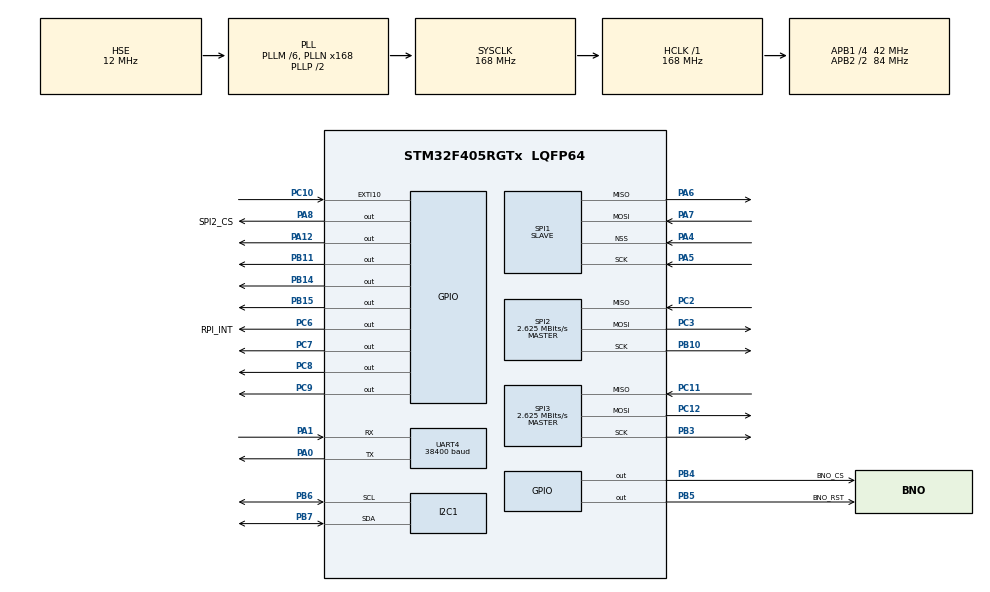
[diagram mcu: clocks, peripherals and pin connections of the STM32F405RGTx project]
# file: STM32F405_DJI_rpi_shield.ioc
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Dma.Request0=UART4_RX
Dma.Request1=UART4_TX
Dma.Request2=SPI1_RX
Dma.Request3=SPI1_TX
Dma.SPI1_RX.2.Direction=DMA_PERIPH_TO_MEMORY
Dma.SPI1_RX.2.FIFOMode=DMA_FIFOMODE_DISABLE
Dma.SPI1_RX.2.Instance=DMA2_Stream0
Dma.SPI1_RX.2.MemDataAlignment=DMA_MDATAALIGN_BYTE
Dma.SPI1_RX.2.MemInc=DMA_MINC_ENABLE
Dma.SPI1_RX.2.Mode=DMA_NORMAL
Dma.SPI1_RX.2.PeriphDataAlignment=DMA_PDATAALIGN_BYTE
Dma.SPI1_RX.2.PeriphInc=DMA_PINC_DISABLE
Dma.SPI1_RX.2.Priority=DMA_PRIORITY_LOW
Dma.SPI1_TX.3.Direction=DMA_MEMORY_TO_PERIPH
Dma.SPI1_TX.3.FIFOMode=DMA_FIFOMODE_DISABLE
Dma.SPI1_TX.3.Instance=DMA2_Stream3
Dma.SPI1_TX.3.MemDataAlignment=DMA_MDATAALIGN_BYTE
Dma.SPI1_TX.3.MemInc=DMA_MINC_ENABLE
Dma.SPI1_TX.3.Mode=DMA_NORMAL
Dma.SPI1_TX.3.PeriphDataAlignment=DMA_PDATAALIGN_BYTE
Dma.SPI1_TX.3.PeriphInc=DMA_PINC_DISABLE
Dma.SPI1_TX.3.Priority=DMA_PRIORITY_LOW
Dma.UART4_RX.0.Direction=DMA_PERIPH_TO_MEMORY
Dma.UART4_RX.0.FIFOMode=DMA_FIFOMODE_DISABLE
Dma.UART4_RX.0.Instance=DMA1_Stream2
Dma.UART4_RX.0.MemDataAlignment=DMA_MDATAALIGN_BYTE
Dma.UART4_RX.0.MemInc=DMA_MINC_ENABLE
Dma.UART4_RX.0.Mode=DMA_CIRCULAR
Dma.UART4_RX.0.PeriphDataAlignment=DMA_PDATAALIGN_BYTE
Dma.UART4_RX.0.PeriphInc=DMA_PINC_DISABLE
Dma.UART4_RX.0.Priority=DMA_PRIORITY_LOW
Dma.UART4_TX.1.Direction=DMA_MEMORY_TO_PERIPH
Dma.UART4_TX.1.FIFOMode=DMA_FIFOMODE_DISABLE
Dma.UART4_TX.1.Instance=DMA1_Stream4
Dma.UART4_TX.1.MemDataAlignment=DMA_MDATAALIGN_BYTE
Dma.UART4_TX.1.MemInc=DMA_MINC_ENABLE
Dma.UART4_TX.1.Mode=DMA_CIRCULAR
Dma.UART4_TX.1.PeriphDataAlignment=DMA_PDATAALIGN_BYTE
Dma.UART4_TX.1.PeriphInc=DMA_PINC_DISABLE
Dma.UART4_TX.1.Priority=DMA_PRIORITY_LOW
Mcu.Family=STM32F4
Mcu.Name=STM32F405RGTx
Mcu.Package=LQFP64
NVIC.DMA1_Stream2_IRQn=true\:0\:0\:false\:false\:true\:false\:true
NVIC.DMA1_Stream4_IRQn=true\:0\:0\:false\:false\:true\:false\:true
NVIC.DMA2_Stream0_IRQn=true\:0\:0\:false\:false\:true\:false\:true
NVIC.DMA2_Stream3_IRQn=true\:0\:0\:false\:false\:true\:false\:true
NVIC.EXTI15_10_IRQn=true\:0\:0\:false\:true\:true\:1\:true\:true
NVIC.PriorityGroup=NVIC_PRIORITYGROUP_4
NVIC.SPI1_IRQn=true\:0\:0\:false\:false\:true\:true\:true
PA0-WKUP.Mode=Asynchronous
PA0-WKUP.Signal=UART4_TX
PA1.Mode=Asynchronous
PA1.Signal=UART4_RX
PA12.Signal=GPIO_Output
PA13.Mode=Serial_Wire
PA13.Signal=SYS_JTMS-SWDIO
PA14.Mode=Serial_Wire
PA14.Signal=SYS_JTCK-SWCLK
PA4.GPIO_PuPd=GPIO_PULLUP
PA4.Mode=NSS_Signal_Hard_Input
PA4.Signal=SPI1_NSS
PA5.GPIO_PuPd=GPIO_PULLDOWN
PA5.Mode=Full_Duplex_Slave
PA5.Signal=SPI1_SCK
PA6.GPIO_PuPd=GPIO_PULLDOWN
PA6.Mode=Full_Duplex_Slave
PA6.Signal=SPI1_MISO
PA7.GPIO_PuPd=GPIO_PULLDOWN
PA7.Mode=Full_Duplex_Slave
PA7.Signal=SPI1_MOSI
PA8.GPIO_Label=SPI2_CS
PA8.GPIO_Speed=GPIO_SPEED_FREQ_VERY_HIGH
PA8.PinState=GPIO_PIN_SET
PA8.Signal=GPIO_Output
PB10.Mode=Full_Duplex_Master
PB10.Signal=SPI2_SCK
PB11.Signal=GPIO_Output
PB14.Signal=GPIO_Output
PB15.GPIO_PuPd=GPIO_PULLDOWN
PB15.GPIO_Speed=GPIO_SPEED_FREQ_VERY_HIGH
PB15.Signal=GPIO_Output
PB3.Mode=Full_Duplex_Master
PB3.Signal=SPI3_SCK
PB4.GPIO_Label=BNO_CS
PB4.GPIO_Speed=GPIO_SPEED_FREQ_VERY_HIGH
PB4.PinState=GPIO_PIN_SET
PB4.Signal=GPIO_Output
PB5.GPIO_Label=BNO_RST
PB5.GPIO_PuPd=GPIO_NOPULL
PB5.GPIO_Speed=GPIO_SPEED_FREQ_VERY_HIGH
PB5.PinState=GPIO_PIN_SET
PB5.Signal=GPIO_Output
PB6.GPIO_Speed=GPIO_SPEED_FREQ_VERY_HIGH
PB6.Mode=I2C
PB6.Signal=I2C1_SCL
PB7.GPIO_Speed=GPIO_SPEED_FREQ_VERY_HIGH
PB7.Mode=I2C
PB7.Signal=I2C1_SDA
PC10.Signal=GPXTI10
PC11.Mode=Full_Duplex_Master
PC11.Signal=SPI3_MISO
PC12.Mode=Full_Duplex_Master
PC12.Signal=SPI3_MOSI
PC2.Mode=Full_Duplex_Master
PC2.Signal=SPI2_MISO
PC3.Mode=Full_Duplex_Master
PC3.Signal=SPI2_MOSI
PC6.GPIO_Label=RPI_INT
PC6.GPIO_PuPd=GPIO_PULLDOWN
PC6.Signal=GPIO_Output
PC7.GPIO_Speed=GPIO_SPEED_FREQ_HIGH
PC7.PinState=GPIO_PIN_SET
PC7.Signal=GPIO_Output
PC8.Signal=GPIO_Output
PC9.Signal=GPIO_Output
PH0-OSC_IN.Mode=HSE-External-Oscillator
PH0-OSC_IN.Signal=RCC_OSC_IN
PH1-OSC_OUT.Mode=HSE-External-Oscillator
PH1-OSC_OUT.Signal=RCC_OSC_OUT
ProjectManager.HeapSize=0x2000
ProjectManager.StackSize=0x4000
ProjectManager.TargetToolchain=STM32CubeIDE
RCC.48MHZClocksFreq_Value=84000000
RCC.AHBFreq_Value=168000000
RCC.APB1CLKDivider=RCC_HCLK_DIV4
RCC.APB1Freq_Value=42000000
RCC.APB1TimFreq_Value=84000000
RCC.APB2CLKDivider=RCC_HCLK_DIV2
RCC.APB2Freq_Value=84000000
RCC.APB2TimFreq_Value=168000000
RCC.CortexFreq_Value=168000000
RCC.HCLKFreq_Value=168000000
RCC.HSE_VALUE=12000000
RCC.HSI_VALUE=16000000
RCC.LSE_VALUE=32768
RCC.PLLM=6
RCC.PLLN=168
RCC.PLLSourceVirtual=RCC_PLLSOURCE_HSE
RCC.SYSCLKFreq_VALUE=168000000
RCC.SYSCLKSource=RCC_SYSCLKSOURCE_PLLCLK
RCC.VCOOutputFreq_Value=336000000
SPI1.Direction=SPI_DIRECTION_2LINES
SPI1.Mode=SPI_MODE_SLAVE
SPI1.VirtualNSS=VM_NSSHARD
SPI1.VirtualType=VM_SLAVE
SPI2.BaudRatePrescaler=SPI_BAUDRATEPRESCALER_16
SPI2.CLKPhase=SPI_PHASE_2EDGE
SPI2.CLKPolarity=SPI_POLARITY_HIGH
SPI2.CalculateBaudRate=2.625 MBits/s
SPI2.Direction=SPI_DIRECTION_2LINES
SPI2.Mode=SPI_MODE_MASTER
SPI2.VirtualType=VM_MASTER
SPI3.BaudRatePrescaler=SPI_BAUDRATEPRESCALER_16
SPI3.CLKPhase=SPI_PHASE_2EDGE
SPI3.CLKPolarity=SPI_POLARITY_HIGH
SPI3.CalculateBaudRate=2.625 MBits/s
SPI3.Direction=SPI_DIRECTION_2LINES
SPI3.Mode=SPI_MODE_MASTER
SPI3.VirtualType=VM_MASTER
UART4.BaudRate=38400
UART4.VirtualMode=Asynchronous
board=custom

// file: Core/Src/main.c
/* USER CODE BEGIN Header */
/**
  ******************************************************************************
  * @file           : main.c
  * @brief          : Main program body
  ******************************************************************************
  * @attention
  *
  * <h2><center>&copy; Copyright (c) 2020 STMicroelectronics.
  * All rights reserved.</center></h2>
  *
  * This software component is licensed by ST under BSD 3-Clause license,
  * the "License"; You may not use this file except in compliance with the
  * License. You may obtain a copy of the License at:
  *                        opensource.org/licenses/BSD-3-Clause
  *
  ******************************************************************************
  */
/* USER CODE END Header */
#include "main.h"
#include "dma.h"
#include "i2c.h"
#include "spi.h"
#include "usart.h"
#include "gpio.h"

/* USER CODE BEGIN Includes */
#include "bno080.h"
//#include "Quaternion.h"
#include "string.h"

#include "zedf9p/gnss_wrapper.h"
#include "zedf9p/basic_types.h"

#include "TR_One_HAL.h"
/* USER CODE END Includes */

/* USER CODE BEGIN PTD */
CGNSS_c *test;
uint8_t *rxBufferGNSS;
uint8_t aa;
CSensors* sensorRTK;

// TerraBee One Sensor
TRONE_Str sens[2];
TERAONE_Result res = 0;
/* USER CODE END PTD */

/* USER CODE BEGIN PV */
typedef struct stm_rpi{
	int16_t tof_sens[4];
	int16_t rtk_sens;
}stm_rpi;

stm_rpi spi_data = {.tof_sens[0] = 500, .tof_sens[1] = 600, .tof_sens[2] = 700, .tof_sens[3] = 800, .rtk_sens = 100};

/* USER CODE END PV */

void SystemClock_Config(void);
static void MX_NVIC_Init(void);

/* USER CODE BEGIN 0 */
void HAL_SPI_TxCpltCallback (SPI_HandleTypeDef *hspi){

}
/* USER CODE END 0 */

int main(void)
{

  /* MCU Configuration--------------------------------------------------------*/

  /* Reset of all peripherals, Initializes the Flash interface and the Systick. */
  HAL_Init();

  /* Configure the system clock */
  SystemClock_Config();

  /* Initialize all configured peripherals */
  MX_GPIO_Init();
  MX_DMA_Init();
  MX_SPI3_Init();
  MX_UART4_Init();
  MX_I2C1_Init();
  MX_SPI2_Init();
  MX_SPI1_Init();

  /* Initialize interrupts */
  MX_NVIC_Init();
  /* USER CODE BEGIN 2 */

  bno080_Initialization();  // READ sensor in external interrupt  - void EXTI9_5_IRQHandler(void)
  bno080_enableRotationVector(19000); //enable rotation vector at 200Hz
  HAL_Delay(20);
  bno080_start_IT();

  // RTK
  //sensorRTK = newCSensors();
  //sensorRTK = copy_struct(); // Tukaj se nahajajo vsi podatki

  /* TerraBeeOne */
  //sens[0].i2cHandle = &hi2c1;
  //sens[0].Address = 0x40 << 1;  // default 0x30 << 1;
  //res = TrOne_WhoAmI(&sens[0]);

  /* USER CODE END 2 */

  /* Infinite loop */
  /* USER CODE BEGIN WHILE */
  while (1)
  {
	 //TrOne_ReadDist(&sens[0]);
	  /*
	 HAL_SPI_Transmit_DMA(&hspi1, (uint8_t *)&spi_data, sizeof(spi_data));
	 HAL_GPIO_WritePin (RPI_INT_GPIO_Port, RPI_INT_Pin, 1);
	 HAL_Delay(1000);

	 HAL_GPIO_WritePin (RPI_INT_GPIO_Port, RPI_INT_Pin, 0);
	 HAL_Delay(1000);

	 */
    /* USER CODE END WHILE */

  }
}

void SystemClock_Config(void)
{
  RCC_OscInitTypeDef RCC_OscInitStruct = {0};
  RCC_ClkInitTypeDef RCC_ClkInitStruct = {0};

  /** Configure the main internal regulator output voltage
  */
  __HAL_RCC_PWR_CLK_ENABLE();
  __HAL_PWR_VOLTAGESCALING_CONFIG(PWR_REGULATOR_VOLTAGE_SCALE1);
  /** Initializes the RCC Oscillators according to the specified parameters
  * in the RCC_OscInitTypeDef structure.
  */
  RCC_OscInitStruct.OscillatorType = RCC_OSCILLATORTYPE_HSE;
  RCC_OscInitStruct.HSEState = RCC_HSE_ON;
  RCC_OscInitStruct.PLL.PLLState = RCC_PLL_ON;
  RCC_OscInitStruct.PLL.PLLSource = RCC_PLLSOURCE_HSE;
  RCC_OscInitStruct.PLL.PLLM = 6;
  RCC_OscInitStruct.PLL.PLLN = 168;
  RCC_OscInitStruct.PLL.PLLP = RCC_PLLP_DIV2;
  RCC_OscInitStruct.PLL.PLLQ = 4;
  if (HAL_RCC_OscConfig(&RCC_OscInitStruct) != HAL_OK)
  {
    Error_Handler();
  }
  /** Initializes the CPU, AHB and APB buses clocks
  */
  RCC_ClkInitStruct.ClockType = RCC_CLOCKTYPE_HCLK|RCC_CLOCKTYPE_SYSCLK
                              |RCC_CLOCKTYPE_PCLK1|RCC_CLOCKTYPE_PCLK2;
  RCC_ClkInitStruct.SYSCLKSource = RCC_SYSCLKSOURCE_PLLCLK;
  RCC_ClkInitStruct.AHBCLKDivider = RCC_SYSCLK_DIV1;
  RCC_ClkInitStruct.APB1CLKDivider = RCC_HCLK_DIV4;
  RCC_ClkInitStruct.APB2CLKDivider = RCC_HCLK_DIV2;

  if (HAL_RCC_ClockConfig(&RCC_ClkInitStruct, FLASH_LATENCY_5) != HAL_OK)
  {
    Error_Handler();
  }
}

/**
  * @brief NVIC Configuration.
  * @retval None
  */
static void MX_NVIC_Init(void)
{
  /* EXTI15_10_IRQn interrupt configuration */
  HAL_NVIC_SetPriority(EXTI15_10_IRQn, 0, 0);
  HAL_NVIC_EnableIRQ(EXTI15_10_IRQn);
}

/* USER CODE BEGIN 4 */

void HAL_UART_RxCpltCallback(UART_HandleTypeDef *huart)
{
	if(huart == &huart4)		//GNSS
	{
		//handleGNSS_c();
	}
}

/* USER CODE END 4 */

void Error_Handler(void)
{
}

/************************ (C) COPYRIGHT STMicroelectronics *****END OF FILE****/
